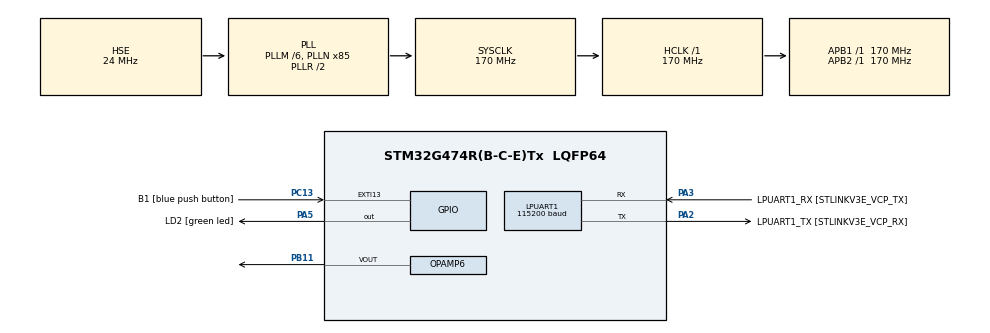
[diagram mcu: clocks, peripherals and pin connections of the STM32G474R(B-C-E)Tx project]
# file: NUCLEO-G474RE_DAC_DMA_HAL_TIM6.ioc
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Mcu.Family=STM32G4
RCC.CortexFreq_Value=170000000
Dma.DAC3_CH1.0.Polarity=HAL_DMAMUX_REQ_GEN_RISING
Dma.DAC3_CH1.0.MemInc=DMA_MINC_ENABLE
PA14.GPIO_Label=T_SWCLK
Dma.DAC3_CH1.0.PeriphInc=DMA_PINC_DISABLE
LPUART1.WordLength=UART_WORDLENGTH_8B
PC13.GPIO_Label=B1 [blue push button]
PB11.Signal=OPAMP6_VOUT
RCC.SYSCLKSource=RCC_SYSCLKSOURCE_PLLCLK
ProjectManager.StackSize=0x400
Dma.DAC3_CH1.0.MemDataAlignment=DMA_MDATAALIGN_HALFWORD
Dma.DAC3_CH1.0.SyncPolarity=HAL_DMAMUX_SYNC_NO_EVENT
Dma.DAC3_CH1.0.SyncEnable=DISABLE
RCC.HCLKFreq_Value=170000000
RCC.APB2TimFreq_Value=170000000
DAC3.DAC_Trigger_OUT1-DAC_OUT1_Int=DAC_TRIGGER_T6_TRGO
RCC.AHBFreq_Value=170000000
NVIC.EXTI15_10_IRQn=true\:0\:0\:false\:false\:true\:true\:true
RCC.HSE_VALUE=24000000
PB3.Mode=Trace_Asynchronous_SW
OPAMP6.PowerMode=OPAMP_POWERMODE_HIGHSPEED
RCC.ADC12Freq_Value=170000000
RCC.RTCClockSelection=RCC_RTCCLKSOURCE_LSE
VP_DAC3_VS_DACI1.Mode=DAC_OUT1_Int
PC14-OSC32_IN.Mode=LSE-External-Oscillator
PA14.Mode=Trace_Asynchronous_SW
VP_SYS_VS_DBSignals.Mode=DisableDeadBatterySignals
Mcu.Package=LQFP64
Dma.DAC3_CH1.0.Mode=DMA_CIRCULAR
TIM6.PeriodNoDither=10-1
PA2.GPIO_Label=LPUART1_TX [STLINKV3E_VCP_RX]
RCC.APB1TimFreq_Value=170000000
PF1-OSC_OUT.Mode=HSE-External-Oscillator
Dma.Request0=DAC3_CH1
PF1-OSC_OUT.Signal=RCC_OSC_OUT
RCC.HSI48_VALUE=48000000
PA3.Signal=LPUART1_RX
PB3.GPIO_Label=T_SWO
RCC.PLLSourceVirtual=RCC_PLLSOURCE_HSE
PC15-OSC32_OUT.Mode=LSE-External-Oscillator
PC13.Signal=GPXTI13
TIM6.Prescaler=17-1
VP_TIM6_VS_ClockSourceINT.Mode=Enable_Timer
RCC.EXTERNAL_CLOCK_VALUE=12288000
PC14-OSC32_IN.Signal=RCC_OSC32_IN
Dma.DAC3_CH1.0.Instance=DMA1_Channel1
PA13.Signal=SYS_JTMS-SWDIO
PA3.Mode=Asynchronous
Dma.DAC3_CH1.0.Direction=DMA_MEMORY_TO_PERIPH
TIM6.AutoReloadPreload=TIM_AUTORELOAD_PRELOAD_DISABLE
PB11.Mode=Follower-DAC_OUT2-INP
ProjectManager.TargetToolchain=STM32CubeIDE
RCC.USBFreq_Value=170000000
PC15-OSC32_OUT.Signal=RCC_OSC32_OUT
PF0-OSC_IN.Mode=HSE-External-Oscillator
Dma.DAC3_CH1.0.EventEnable=DISABLE
PA5.Signal=GPIO_Output
Dma.DAC3_CH1.0.SyncRequestNumber=1
board=NUCLEO-G474RE
RCC.VCOOutputFreq_Value=340000000
RCC.ADC345Freq_Value=170000000
RCC.APB2Freq_Value=170000000
TIM6.TIM_MasterOutputTrigger=TIM_TRGO_UPDATE
Dma.DAC3_CH1.0.SignalID=NONE
PA13.Mode=Trace_Asynchronous_SW
Mcu.Name=STM32G474R(B-C-E)Tx
LPUART1.BaudRate=115200
PA13.GPIO_Label=T_SWDIO
PA2.Signal=LPUART1_TX
Dma.DAC3_CH1.0.PeriphDataAlignment=DMA_PDATAALIGN_WORD
Dma.DAC3_CH1.0.Priority=DMA_PRIORITY_LOW
PB3.Signal=SYS_JTDO-SWO
RCC.SYSCLKFreq_VALUE=170000000
DAC3.DAC_HighFrequency_OUT1-DAC_OUT1_Int=DAC_HIGH_FREQUENCY_INTERFACE_MODE_ABOVE_160MHZ
PA5.GPIO_Label=LD2 [green led]
Dma.DAC3_CH1.0.RequestNumber=1
PA14.Signal=SYS_JTCK-SWCLK
ProjectManager.HeapSize=0x200
RCC.HSI_VALUE=16000000
NVIC.PriorityGroup=NVIC_PRIORITYGROUP_4
RCC.PLLM=RCC_PLLM_DIV6
RCC.PLLN=85
Dma.DAC3_CH1.0.SyncSignalID=NONE
PA2.Mode=Asynchronous
NVIC.DMA1_Channel1_IRQn=true\:0\:0\:false\:false\:true\:false\:true
PF0-OSC_IN.Signal=RCC_OSC_IN
RCC.APB1Freq_Value=170000000
PA3.GPIO_Label=LPUART1_RX [STLINKV3E_VCP_TX]

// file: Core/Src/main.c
/* USER CODE BEGIN Header */
/**
  ******************************************************************************
  * @file           : main.c
  * @brief          : Main program body
  ******************************************************************************
  * @attention
  *
  * <h2><center>&copy; Copyright (c) 2021 STMicroelectronics.
  * All rights reserved.</center></h2>
  *
  * This software component is licensed by ST under BSD 3-Clause license,
  * the "License"; You may not use this file except in compliance with the
  * License. You may obtain a copy of the License at:
  *                        opensource.org/licenses/BSD-3-Clause
  *
  ******************************************************************************
  */
/* USER CODE END Header */
#include "main.h"

/* USER CODE BEGIN PD */

#define Sine12bit_SIZE    	(sizeof (Sine12bit) / sizeof (uint16_t))
#define Sine1k_15k_SIZE    	(sizeof (Sine1k_15k) / sizeof (uint16_t))
#define Sawtooth12bit_SIZE 	4096

/* USER CODE END PD */

DAC_HandleTypeDef hdac3;
DMA_HandleTypeDef hdma_dac3_ch1;

UART_HandleTypeDef hlpuart1;

OPAMP_HandleTypeDef hopamp6;

TIM_HandleTypeDef htim6;

/* USER CODE BEGIN PV */

const uint16_t Sine12bit[] = { 511,  611,  707,  796,  873,  937,  984, 1013,
                                1023, 1013,  984,  937,  873,  796,  707,  611,
                                 511,  412,  315,  227,  149,   86,   38,    9,
                                   0,    9,   38,   86,  149,  227,  315,  412};

const uint16_t Sine1k_15k[] = { 1861, 2597, 1744, 2099, 3102, 2379, 2300, 3419,
								2936, 2435, 3499, 3329, 2482, 3329, 3499, 2435,
								2936, 3419, 2300, 2379, 3102, 2099, 1744, 2597,
								1861, 1126, 1979, 1624,  620, 1343, 1423,  304,
								 787, 1288,  224,  394, 1241,  394,  224, 1288,
								 787,  304, 1423, 1343,  620, 1624, 1979, 1126};

uint16_t Sawtooth12bit[Sawtooth12bit_SIZE];

/* USER CODE END PV */

void SystemClock_Config(void);
static void MX_GPIO_Init(void);
static void MX_DMA_Init(void);
static void MX_LPUART1_UART_Init(void);
static void MX_DAC3_Init(void);
static void MX_OPAMP6_Init(void);
static void MX_TIM6_Init(void);

int main(void)
{

  /* MCU Configuration--------------------------------------------------------*/

  /* Reset of all peripherals, Initializes the Flash interface and the Systick. */
  HAL_Init();

  /* Configure the system clock */
  SystemClock_Config();

  /* Initialize all configured peripherals */
  MX_GPIO_Init();
  MX_DMA_Init();
  MX_LPUART1_UART_Init();
  MX_DAC3_Init();
  MX_OPAMP6_Init();
  MX_TIM6_Init();
  /* USER CODE BEGIN 2 */

  for(uint16_t cntr = 0; cntr < (Sawtooth12bit_SIZE); cntr++)
	  Sawtooth12bit[cntr] = cntr;

  /*##- Enable DAC Channel and associated DMA ##############################*/
//  if(HAL_OK != HAL_DAC_Start_DMA(&hdac3, DAC_CHANNEL_1,
//                       (uint32_t*)Sine12bit, Sine12bit_SIZE, DAC_ALIGN_12B_R))
//  {
//    /* Start DMA Error */
//    Error_Handler();
//  }

  if(HAL_OK != HAL_DAC_Start_DMA(&hdac3, DAC_CHANNEL_1,
                       (uint32_t*)Sine1k_15k, Sine1k_15k_SIZE, DAC_ALIGN_12B_R))
  {
    /* Start DMA Error */
    Error_Handler();
  }

  /*##- Enable TIM peripheral counter ######################################*/
  if(HAL_OK != HAL_TIM_Base_Start(&htim6))
  {
    Error_Handler();
  }
  /*##- Start OPAMP    #####################################################*/
  /* Enable OPAMP */
  if(HAL_OK != HAL_OPAMP_Start(&hopamp6))
  {
    Error_Handler();
  }

  /* USER CODE END 2 */

  /* Infinite loop */
  while (1)
  {

  }
}

void SystemClock_Config(void)
{
  RCC_OscInitTypeDef RCC_OscInitStruct = {0};
  RCC_ClkInitTypeDef RCC_ClkInitStruct = {0};
  RCC_PeriphCLKInitTypeDef PeriphClkInit = {0};

  /** Configure the main internal regulator output voltage
  */
  HAL_PWREx_ControlVoltageScaling(PWR_REGULATOR_VOLTAGE_SCALE1_BOOST);
  /** Initializes the RCC Oscillators according to the specified parameters
  * in the RCC_OscInitTypeDef structure.
  */
  RCC_OscInitStruct.OscillatorType = RCC_OSCILLATORTYPE_HSE;
  RCC_OscInitStruct.HSEState = RCC_HSE_ON;
  RCC_OscInitStruct.PLL.PLLState = RCC_PLL_ON;
  RCC_OscInitStruct.PLL.PLLSource = RCC_PLLSOURCE_HSE;
  RCC_OscInitStruct.PLL.PLLM = RCC_PLLM_DIV6;
  RCC_OscInitStruct.PLL.PLLN = 85;
  RCC_OscInitStruct.PLL.PLLP = RCC_PLLP_DIV2;
  RCC_OscInitStruct.PLL.PLLQ = RCC_PLLQ_DIV2;
  RCC_OscInitStruct.PLL.PLLR = RCC_PLLR_DIV2;
  if (HAL_RCC_OscConfig(&RCC_OscInitStruct) != HAL_OK)
  {
    Error_Handler();
  }
  /** Initializes the CPU, AHB and APB buses clocks
  */
  RCC_ClkInitStruct.ClockType = RCC_CLOCKTYPE_HCLK|RCC_CLOCKTYPE_SYSCLK
                              |RCC_CLOCKTYPE_PCLK1|RCC_CLOCKTYPE_PCLK2;
  RCC_ClkInitStruct.SYSCLKSource = RCC_SYSCLKSOURCE_PLLCLK;
  RCC_ClkInitStruct.AHBCLKDivider = RCC_SYSCLK_DIV1;
  RCC_ClkInitStruct.APB1CLKDivider = RCC_HCLK_DIV1;
  RCC_ClkInitStruct.APB2CLKDivider = RCC_HCLK_DIV1;

  if (HAL_RCC_ClockConfig(&RCC_ClkInitStruct, FLASH_LATENCY_4) != HAL_OK)
  {
    Error_Handler();
  }
  /** Initializes the peripherals clocks
  */
  PeriphClkInit.PeriphClockSelection = RCC_PERIPHCLK_LPUART1;
  PeriphClkInit.Lpuart1ClockSelection = RCC_LPUART1CLKSOURCE_PCLK1;
  if (HAL_RCCEx_PeriphCLKConfig(&PeriphClkInit) != HAL_OK)
  {
    Error_Handler();
  }
}

static void MX_DAC3_Init(void)
{

  DAC_ChannelConfTypeDef sConfig = {0};

  /** DAC Initialization
  */
  hdac3.Instance = DAC3;
  if (HAL_DAC_Init(&hdac3) != HAL_OK)
  {
    Error_Handler();
  }
  /** DAC channel OUT1 config
  */
  sConfig.DAC_HighFrequency = DAC_HIGH_FREQUENCY_INTERFACE_MODE_ABOVE_160MHZ;
  sConfig.DAC_DMADoubleDataMode = DISABLE;
  sConfig.DAC_SignedFormat = DISABLE;
  sConfig.DAC_SampleAndHold = DAC_SAMPLEANDHOLD_DISABLE;
  sConfig.DAC_Trigger = DAC_TRIGGER_T6_TRGO;
  sConfig.DAC_Trigger2 = DAC_TRIGGER_NONE;
  sConfig.DAC_OutputBuffer = DAC_OUTPUTBUFFER_DISABLE;
  sConfig.DAC_ConnectOnChipPeripheral = DAC_CHIPCONNECT_INTERNAL;
  sConfig.DAC_UserTrimming = DAC_TRIMMING_FACTORY;
  if (HAL_DAC_ConfigChannel(&hdac3, &sConfig, DAC_CHANNEL_1) != HAL_OK)
  {
    Error_Handler();
  }

}

static void MX_LPUART1_UART_Init(void)
{

  hlpuart1.Instance = LPUART1;
  hlpuart1.Init.BaudRate = 115200;
  hlpuart1.Init.WordLength = UART_WORDLENGTH_8B;
  hlpuart1.Init.StopBits = UART_STOPBITS_1;
  hlpuart1.Init.Parity = UART_PARITY_NONE;
  hlpuart1.Init.Mode = UART_MODE_TX_RX;
  hlpuart1.Init.HwFlowCtl = UART_HWCONTROL_NONE;
  hlpuart1.Init.OneBitSampling = UART_ONE_BIT_SAMPLE_DISABLE;
  hlpuart1.Init.ClockPrescaler = UART_PRESCALER_DIV1;
  hlpuart1.AdvancedInit.AdvFeatureInit = UART_ADVFEATURE_NO_INIT;
  if (HAL_UART_Init(&hlpuart1) != HAL_OK)
  {
    Error_Handler();
  }
  if (HAL_UARTEx_SetTxFifoThreshold(&hlpuart1, UART_TXFIFO_THRESHOLD_1_8) != HAL_OK)
  {
    Error_Handler();
  }
  if (HAL_UARTEx_SetRxFifoThreshold(&hlpuart1, UART_RXFIFO_THRESHOLD_1_8) != HAL_OK)
  {
    Error_Handler();
  }
  if (HAL_UARTEx_DisableFifoMode(&hlpuart1) != HAL_OK)
  {
    Error_Handler();
  }

}

static void MX_OPAMP6_Init(void)
{

  hopamp6.Instance = OPAMP6;
  hopamp6.Init.PowerMode = OPAMP_POWERMODE_HIGHSPEED;
  hopamp6.Init.Mode = OPAMP_FOLLOWER_MODE;
  hopamp6.Init.NonInvertingInput = OPAMP_NONINVERTINGINPUT_DAC;
  hopamp6.Init.InternalOutput = DISABLE;
  hopamp6.Init.TimerControlledMuxmode = OPAMP_TIMERCONTROLLEDMUXMODE_DISABLE;
  hopamp6.Init.UserTrimming = OPAMP_TRIMMING_FACTORY;
  if (HAL_OPAMP_Init(&hopamp6) != HAL_OK)
  {
    Error_Handler();
  }

}

static void MX_TIM6_Init(void)
{

  TIM_MasterConfigTypeDef sMasterConfig = {0};

  htim6.Instance = TIM6;
  htim6.Init.Prescaler = 17-1;
  htim6.Init.CounterMode = TIM_COUNTERMODE_UP;
  htim6.Init.Period = 9;
  htim6.Init.AutoReloadPreload = TIM_AUTORELOAD_PRELOAD_DISABLE;
  if (HAL_TIM_Base_Init(&htim6) != HAL_OK)
  {
    Error_Handler();
  }
  sMasterConfig.MasterOutputTrigger = TIM_TRGO_UPDATE;
  sMasterConfig.MasterSlaveMode = TIM_MASTERSLAVEMODE_DISABLE;
  if (HAL_TIMEx_MasterConfigSynchronization(&htim6, &sMasterConfig) != HAL_OK)
  {
    Error_Handler();
  }

}

static void MX_DMA_Init(void)
{

  /* DMA controller clock enable */
  __HAL_RCC_DMAMUX1_CLK_ENABLE();
  __HAL_RCC_DMA1_CLK_ENABLE();

  /* DMA interrupt init */
  /* DMA1_Channel1_IRQn interrupt configuration */
  HAL_NVIC_SetPriority(DMA1_Channel1_IRQn, 0, 0);
  HAL_NVIC_EnableIRQ(DMA1_Channel1_IRQn);

}

static void MX_GPIO_Init(void)
{
  GPIO_InitTypeDef GPIO_InitStruct = {0};

  /* GPIO Ports Clock Enable */
  __HAL_RCC_GPIOC_CLK_ENABLE();
  __HAL_RCC_GPIOF_CLK_ENABLE();
  __HAL_RCC_GPIOA_CLK_ENABLE();
  __HAL_RCC_GPIOB_CLK_ENABLE();

  /*Configure GPIO pin Output Level */
  HAL_GPIO_WritePin(LD2_GPIO_Port, LD2_Pin, GPIO_PIN_RESET);

  /*Configure GPIO pin : B1_Pin */
  GPIO_InitStruct.Pin = B1_Pin;
  GPIO_InitStruct.Mode = GPIO_MODE_IT_RISING;
  GPIO_InitStruct.Pull = GPIO_NOPULL;
  HAL_GPIO_Init(B1_GPIO_Port, &GPIO_InitStruct);

  /*Configure GPIO pin : LD2_Pin */
  GPIO_InitStruct.Pin = LD2_Pin;
  GPIO_InitStruct.Mode = GPIO_MODE_OUTPUT_PP;
  GPIO_InitStruct.Pull = GPIO_NOPULL;
  GPIO_InitStruct.Speed = GPIO_SPEED_FREQ_LOW;
  HAL_GPIO_Init(LD2_GPIO_Port, &GPIO_InitStruct);

  /* EXTI interrupt init*/
  HAL_NVIC_SetPriority(EXTI15_10_IRQn, 0, 0);
  HAL_NVIC_EnableIRQ(EXTI15_10_IRQn);

}

void Error_Handler(void)
{
  __disable_irq();
  while (1)
  {
  }
}

/************************ (C) COPYRIGHT STMicroelectronics *****END OF FILE****/
